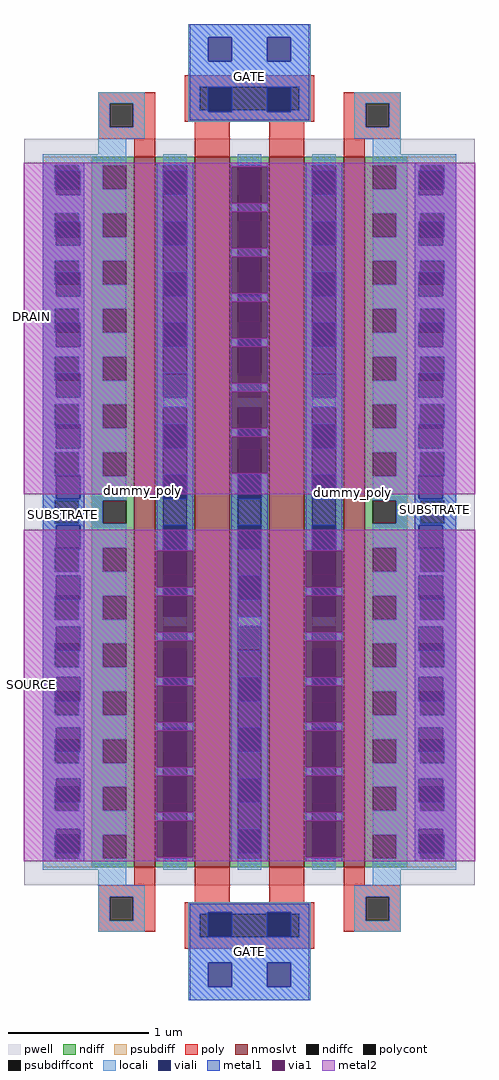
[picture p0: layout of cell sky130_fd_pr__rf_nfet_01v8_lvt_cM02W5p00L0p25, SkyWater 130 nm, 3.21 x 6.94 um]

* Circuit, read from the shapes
.subckt sky130_fd_pr__rf_nfet_01v8_lvt_cM02W5p00L0p25 GATE SUBSTRATE SOURCE DRAIN
XM1 SOURCE SUBSTRATE SUBSTRATE SUBSTRATE sky130_fd_pr__nfet_01v8_lvt w=5.05 l=0.15 m=2
XM2 DRAIN GATE SOURCE SUBSTRATE sky130_fd_pr__nfet_01v8_lvt w=5.05 l=0.25 m=2
.ends

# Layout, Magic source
magic
tech sky130A
magscale 1 2
<< pwell >>
rect 15 163 655 1225
<< nmoslvt >>
rect 171 189 201 1199
rect 257 189 307 1199
rect 363 189 413 1199
rect 469 189 499 1199
<< ndiff >>
rect 111 1187 171 1199
rect 111 1153 126 1187
rect 160 1153 171 1187
rect 111 1119 171 1153
rect 111 1085 126 1119
rect 160 1085 171 1119
rect 111 1051 171 1085
rect 111 1017 126 1051
rect 160 1017 171 1051
rect 111 983 171 1017
rect 111 949 126 983
rect 160 949 171 983
rect 111 915 171 949
rect 111 881 126 915
rect 160 881 171 915
rect 111 847 171 881
rect 111 813 126 847
rect 160 813 171 847
rect 111 779 171 813
rect 111 745 126 779
rect 160 745 171 779
rect 111 711 171 745
rect 111 677 126 711
rect 160 677 171 711
rect 111 643 171 677
rect 111 609 126 643
rect 160 609 171 643
rect 111 575 171 609
rect 111 541 126 575
rect 160 541 171 575
rect 111 507 171 541
rect 111 473 126 507
rect 160 473 171 507
rect 111 439 171 473
rect 111 405 126 439
rect 160 405 171 439
rect 111 371 171 405
rect 111 337 126 371
rect 160 337 171 371
rect 111 303 171 337
rect 111 269 126 303
rect 160 269 171 303
rect 111 235 171 269
rect 111 201 126 235
rect 160 201 171 235
rect 111 189 171 201
rect 201 1187 257 1199
rect 201 889 212 1187
rect 246 889 257 1187
rect 201 843 257 889
rect 201 545 212 843
rect 246 545 257 843
rect 201 499 257 545
rect 201 201 212 499
rect 246 201 257 499
rect 201 189 257 201
rect 307 1187 363 1199
rect 307 889 318 1187
rect 352 889 363 1187
rect 307 843 363 889
rect 307 545 318 843
rect 352 545 363 843
rect 307 499 363 545
rect 307 201 318 499
rect 352 201 363 499
rect 307 189 363 201
rect 413 1187 469 1199
rect 413 889 424 1187
rect 458 889 469 1187
rect 413 843 469 889
rect 413 545 424 843
rect 458 545 469 843
rect 413 499 469 545
rect 413 201 424 499
rect 458 201 469 499
rect 413 189 469 201
rect 499 1187 559 1199
rect 499 1153 510 1187
rect 544 1153 559 1187
rect 499 1119 559 1153
rect 499 1085 510 1119
rect 544 1085 559 1119
rect 499 1051 559 1085
rect 499 1017 510 1051
rect 544 1017 559 1051
rect 499 983 559 1017
rect 499 949 510 983
rect 544 949 559 983
rect 499 915 559 949
rect 499 881 510 915
rect 544 881 559 915
rect 499 847 559 881
rect 499 813 510 847
rect 544 813 559 847
rect 499 779 559 813
rect 499 745 510 779
rect 544 745 559 779
rect 499 711 559 745
rect 499 677 510 711
rect 544 677 559 711
rect 499 643 559 677
rect 499 609 510 643
rect 544 609 559 643
rect 499 575 559 609
rect 499 541 510 575
rect 544 541 559 575
rect 499 507 559 541
rect 499 473 510 507
rect 544 473 559 507
rect 499 439 559 473
rect 499 405 510 439
rect 544 405 559 439
rect 499 371 559 405
rect 499 337 510 371
rect 544 337 559 371
rect 499 303 559 337
rect 499 269 510 303
rect 544 269 559 303
rect 499 235 559 269
rect 499 201 510 235
rect 544 201 559 235
rect 499 189 559 201
<< ndiffc >>
rect 126 1153 160 1187
rect 126 1085 160 1119
rect 126 1017 160 1051
rect 126 949 160 983
rect 126 881 160 915
rect 126 813 160 847
rect 126 745 160 779
rect 126 677 160 711
rect 126 609 160 643
rect 126 541 160 575
rect 126 473 160 507
rect 126 405 160 439
rect 126 337 160 371
rect 126 269 160 303
rect 126 201 160 235
rect 212 889 246 1187
rect 212 545 246 843
rect 212 201 246 499
rect 318 889 352 1187
rect 318 545 352 843
rect 318 201 352 499
rect 424 889 458 1187
rect 424 545 458 843
rect 424 201 458 499
rect 510 1153 544 1187
rect 510 1085 544 1119
rect 510 1017 544 1051
rect 510 949 544 983
rect 510 881 544 915
rect 510 813 544 847
rect 510 745 544 779
rect 510 677 544 711
rect 510 609 544 643
rect 510 541 544 575
rect 510 473 544 507
rect 510 405 544 439
rect 510 337 544 371
rect 510 269 544 303
rect 510 201 544 235
<< psubdiff >>
rect 41 1187 111 1199
rect 41 1153 58 1187
rect 92 1153 111 1187
rect 41 1119 111 1153
rect 41 1085 58 1119
rect 92 1085 111 1119
rect 41 1051 111 1085
rect 41 1017 58 1051
rect 92 1017 111 1051
rect 41 983 111 1017
rect 41 949 58 983
rect 92 949 111 983
rect 41 915 111 949
rect 41 881 58 915
rect 92 881 111 915
rect 41 847 111 881
rect 41 813 58 847
rect 92 813 111 847
rect 41 779 111 813
rect 41 745 58 779
rect 92 745 111 779
rect 41 711 111 745
rect 41 677 58 711
rect 92 677 111 711
rect 41 643 111 677
rect 41 609 58 643
rect 92 609 111 643
rect 41 575 111 609
rect 41 541 58 575
rect 92 541 111 575
rect 41 507 111 541
rect 41 473 58 507
rect 92 473 111 507
rect 41 439 111 473
rect 41 405 58 439
rect 92 405 111 439
rect 41 371 111 405
rect 41 337 58 371
rect 92 337 111 371
rect 41 303 111 337
rect 41 269 58 303
rect 92 269 111 303
rect 41 235 111 269
rect 41 201 58 235
rect 92 201 111 235
rect 41 189 111 201
rect 559 1187 629 1199
rect 559 1153 578 1187
rect 612 1153 629 1187
rect 559 1119 629 1153
rect 559 1085 578 1119
rect 612 1085 629 1119
rect 559 1051 629 1085
rect 559 1017 578 1051
rect 612 1017 629 1051
rect 559 983 629 1017
rect 559 949 578 983
rect 612 949 629 983
rect 559 915 629 949
rect 559 881 578 915
rect 612 881 629 915
rect 559 847 629 881
rect 559 813 578 847
rect 612 813 629 847
rect 559 779 629 813
rect 559 745 578 779
rect 612 745 629 779
rect 559 711 629 745
rect 559 677 578 711
rect 612 677 629 711
rect 559 643 629 677
rect 559 609 578 643
rect 612 609 629 643
rect 559 575 629 609
rect 559 541 578 575
rect 612 541 629 575
rect 559 507 629 541
rect 559 473 578 507
rect 612 473 629 507
rect 559 439 629 473
rect 559 405 578 439
rect 612 405 629 439
rect 559 371 629 405
rect 559 337 578 371
rect 612 337 629 371
rect 559 303 629 337
rect 559 269 578 303
rect 612 269 629 303
rect 559 235 629 269
rect 559 201 578 235
rect 612 201 629 235
rect 559 189 629 201
<< psubdiffcont >>
rect 58 1153 92 1187
rect 58 1085 92 1119
rect 58 1017 92 1051
rect 58 949 92 983
rect 58 881 92 915
rect 58 813 92 847
rect 58 745 92 779
rect 58 677 92 711
rect 58 609 92 643
rect 58 541 92 575
rect 58 473 92 507
rect 58 405 92 439
rect 58 337 92 371
rect 58 269 92 303
rect 58 201 92 235
rect 578 1153 612 1187
rect 578 1085 612 1119
rect 578 1017 612 1051
rect 578 949 612 983
rect 578 881 612 915
rect 578 813 612 847
rect 578 745 612 779
rect 578 677 612 711
rect 578 609 612 643
rect 578 541 612 575
rect 578 473 612 507
rect 578 405 612 439
rect 578 337 612 371
rect 578 269 612 303
rect 578 201 612 235
<< poly >>
rect 243 1299 427 1315
rect 120 1275 201 1291
rect 120 1241 136 1275
rect 170 1241 201 1275
rect 243 1265 264 1299
rect 406 1265 427 1299
rect 243 1249 427 1265
rect 469 1275 550 1291
rect 120 1225 201 1241
rect 171 1199 201 1225
rect 257 1199 307 1249
rect 363 1199 413 1249
rect 469 1241 500 1275
rect 534 1241 550 1275
rect 469 1225 550 1241
rect 469 1199 499 1225
rect 171 163 201 189
rect 120 147 201 163
rect 120 113 136 147
rect 170 113 201 147
rect 257 139 307 189
rect 363 139 413 189
rect 469 163 499 189
rect 469 147 550 163
rect 120 97 201 113
rect 243 123 427 139
rect 243 89 264 123
rect 406 89 427 123
rect 469 113 500 147
rect 534 113 550 147
rect 469 97 550 113
rect 243 73 427 89
<< polycont >>
rect 136 1241 170 1275
rect 264 1265 406 1299
rect 500 1241 534 1275
rect 136 113 170 147
rect 264 89 406 123
rect 500 113 534 147
<< locali >>
rect 248 1369 422 1388
rect 248 1335 276 1369
rect 310 1335 360 1369
rect 394 1335 422 1369
rect 248 1299 422 1335
rect 120 1275 186 1291
rect 120 1241 136 1275
rect 170 1241 186 1275
rect 248 1265 264 1299
rect 406 1265 422 1299
rect 248 1263 276 1265
rect 310 1263 360 1265
rect 394 1263 422 1265
rect 248 1249 422 1263
rect 484 1275 550 1291
rect 120 1225 186 1241
rect 484 1241 500 1275
rect 534 1241 550 1275
rect 484 1225 550 1241
rect 120 1203 160 1225
rect 510 1203 550 1225
rect 41 1187 160 1203
rect 41 1153 58 1187
rect 92 1179 126 1187
rect 94 1153 126 1179
rect 41 1145 60 1153
rect 94 1145 160 1153
rect 41 1119 160 1145
rect 41 1085 58 1119
rect 92 1107 126 1119
rect 94 1085 126 1107
rect 41 1073 60 1085
rect 94 1073 160 1085
rect 41 1051 160 1073
rect 41 1017 58 1051
rect 92 1035 126 1051
rect 94 1017 126 1035
rect 41 1001 60 1017
rect 94 1001 160 1017
rect 41 983 160 1001
rect 41 949 58 983
rect 92 963 126 983
rect 94 949 126 963
rect 41 929 60 949
rect 94 929 160 949
rect 41 915 160 929
rect 41 881 58 915
rect 92 891 126 915
rect 94 881 126 891
rect 41 857 60 881
rect 94 857 160 881
rect 41 847 160 857
rect 41 813 58 847
rect 92 819 126 847
rect 94 813 126 819
rect 41 785 60 813
rect 94 785 160 813
rect 41 779 160 785
rect 41 745 58 779
rect 92 747 126 779
rect 94 745 126 747
rect 41 713 60 745
rect 94 713 160 745
rect 41 711 160 713
rect 41 677 58 711
rect 92 677 126 711
rect 41 675 160 677
rect 41 643 60 675
rect 94 643 160 675
rect 41 609 58 643
rect 94 641 126 643
rect 92 609 126 641
rect 41 603 160 609
rect 41 575 60 603
rect 94 575 160 603
rect 41 541 58 575
rect 94 569 126 575
rect 92 541 126 569
rect 41 531 160 541
rect 41 507 60 531
rect 94 507 160 531
rect 41 473 58 507
rect 94 497 126 507
rect 92 473 126 497
rect 41 459 160 473
rect 41 439 60 459
rect 94 439 160 459
rect 41 405 58 439
rect 94 425 126 439
rect 92 405 126 425
rect 41 387 160 405
rect 41 371 60 387
rect 94 371 160 387
rect 41 337 58 371
rect 94 353 126 371
rect 92 337 126 353
rect 41 315 160 337
rect 41 303 60 315
rect 94 303 160 315
rect 41 269 58 303
rect 94 281 126 303
rect 92 269 126 281
rect 41 243 160 269
rect 41 235 60 243
rect 94 235 160 243
rect 41 201 58 235
rect 94 209 126 235
rect 92 201 126 209
rect 41 185 160 201
rect 212 1187 246 1203
rect 212 843 246 857
rect 212 531 246 545
rect 212 185 246 201
rect 318 1187 352 1203
rect 318 843 352 857
rect 318 531 352 545
rect 318 185 352 201
rect 424 1187 458 1203
rect 424 843 458 857
rect 424 531 458 545
rect 424 185 458 201
rect 510 1187 629 1203
rect 544 1179 578 1187
rect 544 1153 576 1179
rect 612 1153 629 1187
rect 510 1145 576 1153
rect 610 1145 629 1153
rect 510 1119 629 1145
rect 544 1107 578 1119
rect 544 1085 576 1107
rect 612 1085 629 1119
rect 510 1073 576 1085
rect 610 1073 629 1085
rect 510 1051 629 1073
rect 544 1035 578 1051
rect 544 1017 576 1035
rect 612 1017 629 1051
rect 510 1001 576 1017
rect 610 1001 629 1017
rect 510 983 629 1001
rect 544 963 578 983
rect 544 949 576 963
rect 612 949 629 983
rect 510 929 576 949
rect 610 929 629 949
rect 510 915 629 929
rect 544 891 578 915
rect 544 881 576 891
rect 612 881 629 915
rect 510 857 576 881
rect 610 857 629 881
rect 510 847 629 857
rect 544 819 578 847
rect 544 813 576 819
rect 612 813 629 847
rect 510 785 576 813
rect 610 785 629 813
rect 510 779 629 785
rect 544 747 578 779
rect 544 745 576 747
rect 612 745 629 779
rect 510 713 576 745
rect 610 713 629 745
rect 510 711 629 713
rect 544 677 578 711
rect 612 677 629 711
rect 510 675 629 677
rect 510 643 576 675
rect 610 643 629 675
rect 544 641 576 643
rect 544 609 578 641
rect 612 609 629 643
rect 510 603 629 609
rect 510 575 576 603
rect 610 575 629 603
rect 544 569 576 575
rect 544 541 578 569
rect 612 541 629 575
rect 510 531 629 541
rect 510 507 576 531
rect 610 507 629 531
rect 544 497 576 507
rect 544 473 578 497
rect 612 473 629 507
rect 510 459 629 473
rect 510 439 576 459
rect 610 439 629 459
rect 544 425 576 439
rect 544 405 578 425
rect 612 405 629 439
rect 510 387 629 405
rect 510 371 576 387
rect 610 371 629 387
rect 544 353 576 371
rect 544 337 578 353
rect 612 337 629 371
rect 510 315 629 337
rect 510 303 576 315
rect 610 303 629 315
rect 544 281 576 303
rect 544 269 578 281
rect 612 269 629 303
rect 510 243 629 269
rect 510 235 576 243
rect 610 235 629 243
rect 544 209 576 235
rect 544 201 578 209
rect 612 201 629 235
rect 510 185 629 201
rect 120 163 160 185
rect 510 163 550 185
rect 120 147 186 163
rect 120 113 136 147
rect 170 113 186 147
rect 484 147 550 163
rect 120 97 186 113
rect 248 125 422 139
rect 248 123 276 125
rect 310 123 360 125
rect 394 123 422 125
rect 248 89 264 123
rect 406 89 422 123
rect 484 113 500 147
rect 534 113 550 147
rect 484 97 550 113
rect 248 53 422 89
rect 248 19 276 53
rect 310 19 360 53
rect 394 19 422 53
rect 248 0 422 19
<< viali >>
rect 276 1335 310 1369
rect 360 1335 394 1369
rect 276 1265 310 1297
rect 360 1265 394 1297
rect 276 1263 310 1265
rect 360 1263 394 1265
rect 60 1153 92 1179
rect 92 1153 94 1179
rect 60 1145 94 1153
rect 60 1085 92 1107
rect 92 1085 94 1107
rect 60 1073 94 1085
rect 60 1017 92 1035
rect 92 1017 94 1035
rect 60 1001 94 1017
rect 60 949 92 963
rect 92 949 94 963
rect 60 929 94 949
rect 60 881 92 891
rect 92 881 94 891
rect 60 857 94 881
rect 60 813 92 819
rect 92 813 94 819
rect 60 785 94 813
rect 60 745 92 747
rect 92 745 94 747
rect 60 713 94 745
rect 60 643 94 675
rect 60 641 92 643
rect 92 641 94 643
rect 60 575 94 603
rect 60 569 92 575
rect 92 569 94 575
rect 60 507 94 531
rect 60 497 92 507
rect 92 497 94 507
rect 60 439 94 459
rect 60 425 92 439
rect 92 425 94 439
rect 60 371 94 387
rect 60 353 92 371
rect 92 353 94 371
rect 60 303 94 315
rect 60 281 92 303
rect 92 281 94 303
rect 60 235 94 243
rect 60 209 92 235
rect 92 209 94 235
rect 212 1145 246 1179
rect 212 1073 246 1107
rect 212 1001 246 1035
rect 212 929 246 963
rect 212 889 246 891
rect 212 857 246 889
rect 212 785 246 819
rect 212 713 246 747
rect 212 641 246 675
rect 212 569 246 603
rect 212 499 246 531
rect 212 497 246 499
rect 212 425 246 459
rect 212 353 246 387
rect 212 281 246 315
rect 212 209 246 243
rect 318 1145 352 1179
rect 318 1073 352 1107
rect 318 1001 352 1035
rect 318 929 352 963
rect 318 889 352 891
rect 318 857 352 889
rect 318 785 352 819
rect 318 713 352 747
rect 318 641 352 675
rect 318 569 352 603
rect 318 499 352 531
rect 318 497 352 499
rect 318 425 352 459
rect 318 353 352 387
rect 318 281 352 315
rect 318 209 352 243
rect 424 1145 458 1179
rect 424 1073 458 1107
rect 424 1001 458 1035
rect 424 929 458 963
rect 424 889 458 891
rect 424 857 458 889
rect 424 785 458 819
rect 424 713 458 747
rect 424 641 458 675
rect 424 569 458 603
rect 424 499 458 531
rect 424 497 458 499
rect 424 425 458 459
rect 424 353 458 387
rect 424 281 458 315
rect 424 209 458 243
rect 576 1153 578 1179
rect 578 1153 610 1179
rect 576 1145 610 1153
rect 576 1085 578 1107
rect 578 1085 610 1107
rect 576 1073 610 1085
rect 576 1017 578 1035
rect 578 1017 610 1035
rect 576 1001 610 1017
rect 576 949 578 963
rect 578 949 610 963
rect 576 929 610 949
rect 576 881 578 891
rect 578 881 610 891
rect 576 857 610 881
rect 576 813 578 819
rect 578 813 610 819
rect 576 785 610 813
rect 576 745 578 747
rect 578 745 610 747
rect 576 713 610 745
rect 576 643 610 675
rect 576 641 578 643
rect 578 641 610 643
rect 576 575 610 603
rect 576 569 578 575
rect 578 569 610 575
rect 576 507 610 531
rect 576 497 578 507
rect 578 497 610 507
rect 576 439 610 459
rect 576 425 578 439
rect 578 425 610 439
rect 576 371 610 387
rect 576 353 578 371
rect 578 353 610 371
rect 576 303 610 315
rect 576 281 578 303
rect 578 281 610 303
rect 576 235 610 243
rect 576 209 578 235
rect 578 209 610 235
rect 276 123 310 125
rect 360 123 394 125
rect 276 91 310 123
rect 360 91 394 123
rect 276 19 310 53
rect 360 19 394 53
<< metal1 >>
rect 250 1369 420 1388
rect 250 1335 276 1369
rect 310 1335 360 1369
rect 394 1335 420 1369
rect 250 1297 420 1335
rect 250 1263 276 1297
rect 310 1263 360 1297
rect 394 1263 420 1297
rect 250 1251 420 1263
rect 41 1179 100 1191
rect 41 1145 60 1179
rect 94 1145 100 1179
rect 41 1107 100 1145
rect 41 1073 60 1107
rect 94 1073 100 1107
rect 41 1035 100 1073
rect 41 1001 60 1035
rect 94 1001 100 1035
rect 41 963 100 1001
rect 41 929 60 963
rect 94 929 100 963
rect 41 891 100 929
rect 41 857 60 891
rect 94 857 100 891
rect 41 819 100 857
rect 41 785 60 819
rect 94 785 100 819
rect 41 747 100 785
rect 41 713 60 747
rect 94 713 100 747
rect 41 675 100 713
rect 41 641 60 675
rect 94 641 100 675
rect 41 603 100 641
rect 41 569 60 603
rect 94 569 100 603
rect 41 531 100 569
rect 41 497 60 531
rect 94 497 100 531
rect 41 459 100 497
rect 41 425 60 459
rect 94 425 100 459
rect 41 387 100 425
rect 41 353 60 387
rect 94 353 100 387
rect 41 315 100 353
rect 41 281 60 315
rect 94 281 100 315
rect 41 243 100 281
rect 41 209 60 243
rect 94 209 100 243
rect 41 197 100 209
rect 203 1179 255 1191
rect 203 1145 212 1179
rect 246 1145 255 1179
rect 203 1107 255 1145
rect 203 1073 212 1107
rect 246 1073 255 1107
rect 203 1035 255 1073
rect 203 1001 212 1035
rect 246 1001 255 1035
rect 203 963 255 1001
rect 203 929 212 963
rect 246 929 255 963
rect 203 891 255 929
rect 203 857 212 891
rect 246 857 255 891
rect 203 819 255 857
rect 203 785 212 819
rect 246 785 255 819
rect 203 747 255 785
rect 203 713 212 747
rect 246 713 255 747
rect 203 675 255 713
rect 203 641 212 675
rect 246 641 255 675
rect 203 639 255 641
rect 203 575 212 587
rect 246 575 255 587
rect 203 511 212 523
rect 246 511 255 523
rect 203 447 212 459
rect 246 447 255 459
rect 203 387 255 395
rect 203 383 212 387
rect 246 383 255 387
rect 203 319 255 331
rect 203 255 255 267
rect 203 197 255 203
rect 309 1185 361 1191
rect 309 1121 361 1133
rect 309 1057 361 1069
rect 309 1001 318 1005
rect 352 1001 361 1005
rect 309 993 361 1001
rect 309 929 318 941
rect 352 929 361 941
rect 309 865 318 877
rect 352 865 361 877
rect 309 801 318 813
rect 352 801 361 813
rect 309 747 361 749
rect 309 713 318 747
rect 352 713 361 747
rect 309 675 361 713
rect 309 641 318 675
rect 352 641 361 675
rect 309 603 361 641
rect 309 569 318 603
rect 352 569 361 603
rect 309 531 361 569
rect 309 497 318 531
rect 352 497 361 531
rect 309 459 361 497
rect 309 425 318 459
rect 352 425 361 459
rect 309 387 361 425
rect 309 353 318 387
rect 352 353 361 387
rect 309 315 361 353
rect 309 281 318 315
rect 352 281 361 315
rect 309 243 361 281
rect 309 209 318 243
rect 352 209 361 243
rect 309 197 361 209
rect 415 1179 467 1191
rect 415 1145 424 1179
rect 458 1145 467 1179
rect 415 1107 467 1145
rect 415 1073 424 1107
rect 458 1073 467 1107
rect 415 1035 467 1073
rect 415 1001 424 1035
rect 458 1001 467 1035
rect 415 963 467 1001
rect 415 929 424 963
rect 458 929 467 963
rect 415 891 467 929
rect 415 857 424 891
rect 458 857 467 891
rect 415 819 467 857
rect 415 785 424 819
rect 458 785 467 819
rect 415 747 467 785
rect 415 713 424 747
rect 458 713 467 747
rect 415 675 467 713
rect 415 641 424 675
rect 458 641 467 675
rect 415 639 467 641
rect 415 575 424 587
rect 458 575 467 587
rect 415 511 424 523
rect 458 511 467 523
rect 415 447 424 459
rect 458 447 467 459
rect 415 387 467 395
rect 415 383 424 387
rect 458 383 467 387
rect 415 319 467 331
rect 415 255 467 267
rect 415 197 467 203
rect 570 1179 629 1191
rect 570 1145 576 1179
rect 610 1145 629 1179
rect 570 1107 629 1145
rect 570 1073 576 1107
rect 610 1073 629 1107
rect 570 1035 629 1073
rect 570 1001 576 1035
rect 610 1001 629 1035
rect 570 963 629 1001
rect 570 929 576 963
rect 610 929 629 963
rect 570 891 629 929
rect 570 857 576 891
rect 610 857 629 891
rect 570 819 629 857
rect 570 785 576 819
rect 610 785 629 819
rect 570 747 629 785
rect 570 713 576 747
rect 610 713 629 747
rect 570 675 629 713
rect 570 641 576 675
rect 610 641 629 675
rect 570 603 629 641
rect 570 569 576 603
rect 610 569 629 603
rect 570 531 629 569
rect 570 497 576 531
rect 610 497 629 531
rect 570 459 629 497
rect 570 425 576 459
rect 610 425 629 459
rect 570 387 629 425
rect 570 353 576 387
rect 610 353 629 387
rect 570 315 629 353
rect 570 281 576 315
rect 610 281 629 315
rect 570 243 629 281
rect 570 209 576 243
rect 610 209 629 243
rect 570 197 629 209
rect 250 125 420 137
rect 250 91 276 125
rect 310 91 360 125
rect 394 91 420 125
rect 250 53 420 91
rect 250 19 276 53
rect 310 19 360 53
rect 394 19 420 53
rect 250 0 420 19
<< via1 >>
rect 203 603 255 639
rect 203 587 212 603
rect 212 587 246 603
rect 246 587 255 603
rect 203 569 212 575
rect 212 569 246 575
rect 246 569 255 575
rect 203 531 255 569
rect 203 523 212 531
rect 212 523 246 531
rect 246 523 255 531
rect 203 497 212 511
rect 212 497 246 511
rect 246 497 255 511
rect 203 459 255 497
rect 203 425 212 447
rect 212 425 246 447
rect 246 425 255 447
rect 203 395 255 425
rect 203 353 212 383
rect 212 353 246 383
rect 246 353 255 383
rect 203 331 255 353
rect 203 315 255 319
rect 203 281 212 315
rect 212 281 246 315
rect 246 281 255 315
rect 203 267 255 281
rect 203 243 255 255
rect 203 209 212 243
rect 212 209 246 243
rect 246 209 255 243
rect 203 203 255 209
rect 309 1179 361 1185
rect 309 1145 318 1179
rect 318 1145 352 1179
rect 352 1145 361 1179
rect 309 1133 361 1145
rect 309 1107 361 1121
rect 309 1073 318 1107
rect 318 1073 352 1107
rect 352 1073 361 1107
rect 309 1069 361 1073
rect 309 1035 361 1057
rect 309 1005 318 1035
rect 318 1005 352 1035
rect 352 1005 361 1035
rect 309 963 361 993
rect 309 941 318 963
rect 318 941 352 963
rect 352 941 361 963
rect 309 891 361 929
rect 309 877 318 891
rect 318 877 352 891
rect 352 877 361 891
rect 309 857 318 865
rect 318 857 352 865
rect 352 857 361 865
rect 309 819 361 857
rect 309 813 318 819
rect 318 813 352 819
rect 352 813 361 819
rect 309 785 318 801
rect 318 785 352 801
rect 352 785 361 801
rect 309 749 361 785
rect 415 603 467 639
rect 415 587 424 603
rect 424 587 458 603
rect 458 587 467 603
rect 415 569 424 575
rect 424 569 458 575
rect 458 569 467 575
rect 415 531 467 569
rect 415 523 424 531
rect 424 523 458 531
rect 458 523 467 531
rect 415 497 424 511
rect 424 497 458 511
rect 458 497 467 511
rect 415 459 467 497
rect 415 425 424 447
rect 424 425 458 447
rect 458 425 467 447
rect 415 395 467 425
rect 415 353 424 383
rect 424 353 458 383
rect 458 353 467 383
rect 415 331 467 353
rect 415 315 467 319
rect 415 281 424 315
rect 424 281 458 315
rect 458 281 467 315
rect 415 267 467 281
rect 415 243 467 255
rect 415 209 424 243
rect 424 209 458 243
rect 458 209 467 243
rect 415 203 467 209
<< metal2 >>
rect 14 1185 656 1191
rect 14 1133 309 1185
rect 361 1133 656 1185
rect 14 1121 656 1133
rect 14 1069 309 1121
rect 361 1069 656 1121
rect 14 1057 656 1069
rect 14 1005 309 1057
rect 361 1005 656 1057
rect 14 993 656 1005
rect 14 941 309 993
rect 361 941 656 993
rect 14 929 656 941
rect 14 877 309 929
rect 361 877 656 929
rect 14 865 656 877
rect 14 813 309 865
rect 361 813 656 865
rect 14 801 656 813
rect 14 749 309 801
rect 361 749 656 801
rect 14 719 656 749
rect 14 639 656 669
rect 14 587 203 639
rect 255 587 415 639
rect 467 587 656 639
rect 14 575 656 587
rect 14 523 203 575
rect 255 523 415 575
rect 467 523 656 575
rect 14 511 656 523
rect 14 459 203 511
rect 255 459 415 511
rect 467 459 656 511
rect 14 447 656 459
rect 14 395 203 447
rect 255 395 415 447
rect 467 395 656 447
rect 14 383 656 395
rect 14 331 203 383
rect 255 331 415 383
rect 467 331 656 383
rect 14 319 656 331
rect 14 267 203 319
rect 255 267 415 319
rect 467 267 656 319
rect 14 255 656 267
rect 14 203 203 255
rect 255 203 415 255
rect 467 203 656 255
rect 14 197 656 203
<< labels >>
flabel comment s 183 725 183 725 0 FreeSans 180 90 0 0 dummy_poly
flabel comment s 482 722 482 722 0 FreeSans 180 90 0 0 dummy_poly
flabel metal1 s 255 1288 414 1339 0 FreeSans 200 0 0 0 GATE
port 1 nsew
flabel metal1 s 255 44 414 95 0 FreeSans 200 0 0 0 GATE
port 1 nsew
flabel metal1 s 570 683 629 713 0 FreeSans 200 90 0 0 SUBSTRATE
port 2 nsew
flabel metal1 s 41 675 100 705 0 FreeSans 200 90 0 0 SUBSTRATE
port 2 nsew
flabel metal2 s 14 384 35 512 7 FreeSans 300 180 0 0 SOURCE
port 3 nsew
flabel metal2 s 14 908 35 1036 7 FreeSans 300 180 0 0 DRAIN
port 4 nsew
<< properties >>
string GDS_FILE $PDKPATH/libs.ref/sky130_fd_pr/gds/sky130_fd_pr.gds
string GDS_END 6659518
string GDS_START 6642110
<< end >>
